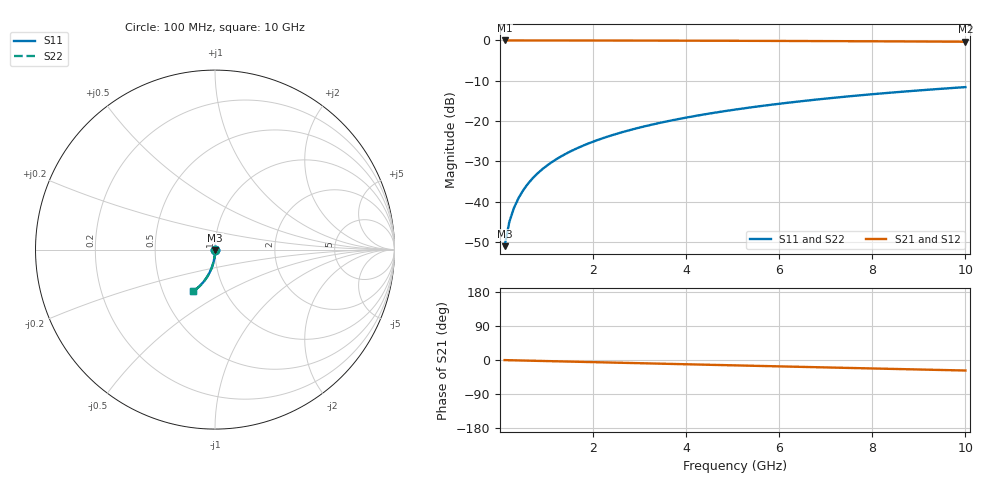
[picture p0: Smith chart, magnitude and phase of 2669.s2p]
# Hz S RI R 50.00
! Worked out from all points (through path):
!   100 points, 100 MHz to 10 GHz, reference 50 ohm
!   highest |S21| = 0.00 dB at 100 MHz (marker M1); lowest = -0.3 dB at 10 GHz (marker M2)
!   group delay of S21, straight-line fit = 7.72 ps
!   lowest |S11| = -51.0 dB at 100 MHz (marker M3), VSWR 1.01, Z = 50 - j0.278 ohm
!   |S11| at or under -10 dB: start of sweep to end of sweep
!   |S22| runs from -51.0 to -11.6 dB; largest |S21 - S12| = 0
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1e8  0.000392 -0.00278  0.9996 -0.0049  0.9996 -0.0049  0.000392 -0.00278
2e8  0.00035 -0.00556  0.9995 -0.0098  0.9995 -0.0098  0.00035 -0.00556
3e8  0.00028 -0.00833  0.9994 -0.0147  0.9994 -0.0147  0.00028 -0.00833
4e8  0.000183 -0.0111  0.9993 -0.0196  0.9993 -0.0196  0.000183 -0.0111
5e8  5.8e-05 -0.0139  0.9992 -0.0245  0.9992 -0.0245  5.8e-05 -0.0139
6e8  -9.42e-05 -0.0167  0.999 -0.0294  0.999 -0.0294  -9.42e-05 -0.0167
7e8  -0.000274 -0.0194  0.9988 -0.0343  0.9988 -0.0343  -0.000274 -0.0194
8e8  -0.00048 -0.0222  0.9985 -0.0392  0.9985 -0.0392  -0.00048 -0.0222
9e8  -0.000715 -0.025  0.9983 -0.0441  0.9983 -0.0441  -0.000715 -0.025
1.1e9  -0.00126 -0.0305  0.9976 -0.0539  0.9976 -0.0539  -0.00126 -0.0305
1.4e9  -0.00229 -0.0388  0.9964 -0.0685  0.9964 -0.0685  -0.00229 -0.0388
1.8e9  -0.00404 -0.0498  0.9944 -0.088  0.9944 -0.088  -0.00404 -0.0498
2.1e9  -0.00564 -0.0579  0.9925 -0.1026  0.9925 -0.1026  -0.00564 -0.0579
2.5e9  -0.00813 -0.0688  0.9896 -0.122  0.9896 -0.122  -0.00813 -0.0688
2.9e9  -0.0111 -0.0795  0.9862 -0.1412  0.9862 -0.1412  -0.0111 -0.0795
3.4e9  -0.0153 -0.0927  0.9812 -0.1651  0.9812 -0.1651  -0.0153 -0.0927
4.2e9  -0.0234 -0.1134  0.9717 -0.2029  0.9717 -0.2029  -0.0234 -0.1134
5.1e9  -0.0343 -0.1357  0.9588 -0.2445  0.9588 -0.2445  -0.0343 -0.1357
5.9e9  -0.0456 -0.1546  0.9455 -0.2806  0.9455 -0.2806  -0.0456 -0.1546
6.7e9  -0.0583 -0.1725  0.9304 -0.3158  0.9304 -0.3158  -0.0583 -0.1725
8.4e9  -0.0893 -0.2067  0.8934 -0.3869  0.8934 -0.3869  -0.0893 -0.2067
1e10  -0.1226 -0.2334  0.853 -0.4486  0.853 -0.4486  -0.1226 -0.2334
